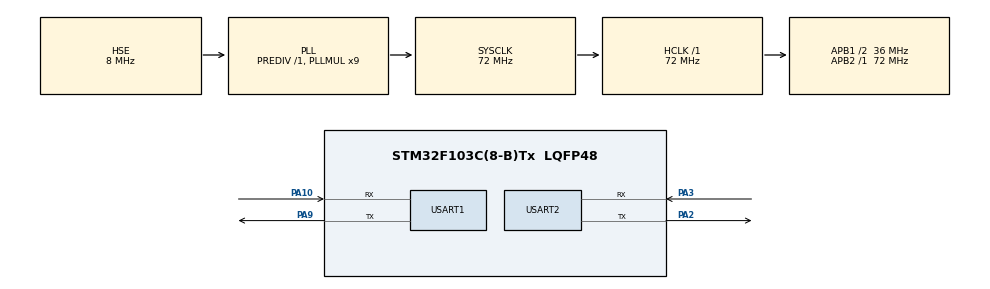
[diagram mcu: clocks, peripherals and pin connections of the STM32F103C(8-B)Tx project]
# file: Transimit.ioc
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Mcu.Family=STM32F1
Mcu.Name=STM32F103C(8-B)Tx
Mcu.Package=LQFP48
NVIC.PriorityGroup=NVIC_PRIORITYGROUP_4
NVIC.USART1_IRQn=true\:0\:0\:false\:false\:true\:true\:true\:true
NVIC.USART2_IRQn=true\:0\:0\:false\:false\:true\:true\:true\:true
PA10.Mode=Asynchronous
PA10.Signal=USART1_RX
PA13.Mode=Serial_Wire
PA13.Signal=SYS_JTMS-SWDIO
PA14.Mode=Serial_Wire
PA14.Signal=SYS_JTCK-SWCLK
PA2.Mode=Asynchronous
PA2.Signal=USART2_TX
PA3.Mode=Asynchronous
PA3.Signal=USART2_RX
PA9.Mode=Asynchronous
PA9.Signal=USART1_TX
PD0-OSC_IN.Mode=HSE-External-Oscillator
PD0-OSC_IN.Signal=RCC_OSC_IN
PD1-OSC_OUT.Mode=HSE-External-Oscillator
PD1-OSC_OUT.Signal=RCC_OSC_OUT
ProjectManager.HeapSize=0x200
ProjectManager.StackSize=0x400
ProjectManager.TargetToolchain=STM32CubeIDE
RCC.AHBFreq_Value=72000000
RCC.APB1CLKDivider=RCC_HCLK_DIV2
RCC.APB1Freq_Value=36000000
RCC.APB1TimFreq_Value=72000000
RCC.APB2Freq_Value=72000000
RCC.APB2TimFreq_Value=72000000
RCC.HCLKFreq_Value=72000000
RCC.PLLMUL=RCC_PLL_MUL9
RCC.PLLSourceVirtual=RCC_PLLSOURCE_HSE
RCC.SYSCLKFreq_VALUE=72000000
RCC.SYSCLKSource=RCC_SYSCLKSOURCE_PLLCLK
RCC.USBFreq_Value=72000000
USART1.VirtualMode=VM_ASYNC
USART2.VirtualMode=VM_ASYNC
board=custom

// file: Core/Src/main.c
/* USER CODE BEGIN Header */
/**
  ******************************************************************************
  * @file           : main.c
  * @brief          : Main program body
  ******************************************************************************
  * @attention
  *
  * Copyright (c) 2024 STMicroelectronics.
  * All rights reserved.
  *
  * This software is licensed under terms that can be found in the LICENSE file
  * in the root directory of this software component.
  * If no LICENSE file comes with this software, it is provided AS-IS.
  *
  ******************************************************************************
  */
/* USER CODE END Header */
#include "main.h"
#include "usart.h"
#include "gpio.h"

void SystemClock_Config(void);

int main(void)
{

  /* MCU Configuration--------------------------------------------------------*/

  /* Reset of all peripherals, Initializes the Flash interface and the Systick. */
  HAL_Init();

  /* Configure the system clock */
  SystemClock_Config();

  /* Initialize all configured peripherals */
  MX_GPIO_Init();
  MX_USART1_UART_Init();
  MX_USART2_UART_Init();
  /* USER CODE BEGIN 2 */
  uint8_t data =0;
  uint8_t temp[5] = {0};
  uint8_t inst[5] = {0};
  HAL_UART_Transmit(&huart2,"start",5,0xff);
  /* USER CODE END 2 */

  /* Infinite loop */
  /* USER CODE BEGIN WHILE */
  while (1)
  {
    HAL_UART_Receive(&huart1,&data,1,0xff);

    if(data == 0x70)
    {
      HAL_UART_Receive(&huart1,temp,5,0xff);
      if(temp[0] == 0x31)
        inst[0] = 1;
      if(temp[1] == 0x32)
        inst[1] = 2;
      if(temp[2] == 0x33)
        inst[2] = 3;
      if(temp[3] == 0x34)
        inst[3] = 4;
      if(temp[4] == 0x35)
        inst[4] = 5;
    }
    if(sizeof(inst) == 5)
    {
      HAL_UART_Transmit(&huart2,temp,5,0xff);
      HAL_Delay(200);
    }
    /* USER CODE END WHILE */

  }
}

void SystemClock_Config(void)
{
  RCC_OscInitTypeDef RCC_OscInitStruct = {0};
  RCC_ClkInitTypeDef RCC_ClkInitStruct = {0};

  /** Initializes the RCC Oscillators according to the specified parameters
  * in the RCC_OscInitTypeDef structure.
  */
  RCC_OscInitStruct.OscillatorType = RCC_OSCILLATORTYPE_HSE;
  RCC_OscInitStruct.HSEState = RCC_HSE_ON;
  RCC_OscInitStruct.HSEPredivValue = RCC_HSE_PREDIV_DIV1;
  RCC_OscInitStruct.HSIState = RCC_HSI_ON;
  RCC_OscInitStruct.PLL.PLLState = RCC_PLL_ON;
  RCC_OscInitStruct.PLL.PLLSource = RCC_PLLSOURCE_HSE;
  RCC_OscInitStruct.PLL.PLLMUL = RCC_PLL_MUL9;
  if (HAL_RCC_OscConfig(&RCC_OscInitStruct) != HAL_OK)
  {
    Error_Handler();
  }

  /** Initializes the CPU, AHB and APB buses clocks
  */
  RCC_ClkInitStruct.ClockType = RCC_CLOCKTYPE_HCLK|RCC_CLOCKTYPE_SYSCLK
                              |RCC_CLOCKTYPE_PCLK1|RCC_CLOCKTYPE_PCLK2;
  RCC_ClkInitStruct.SYSCLKSource = RCC_SYSCLKSOURCE_PLLCLK;
  RCC_ClkInitStruct.AHBCLKDivider = RCC_SYSCLK_DIV1;
  RCC_ClkInitStruct.APB1CLKDivider = RCC_HCLK_DIV2;
  RCC_ClkInitStruct.APB2CLKDivider = RCC_HCLK_DIV1;

  if (HAL_RCC_ClockConfig(&RCC_ClkInitStruct, FLASH_LATENCY_2) != HAL_OK)
  {
    Error_Handler();
  }
}

void Error_Handler(void)
{
  __disable_irq();
  while (1)
  {
  }
}
